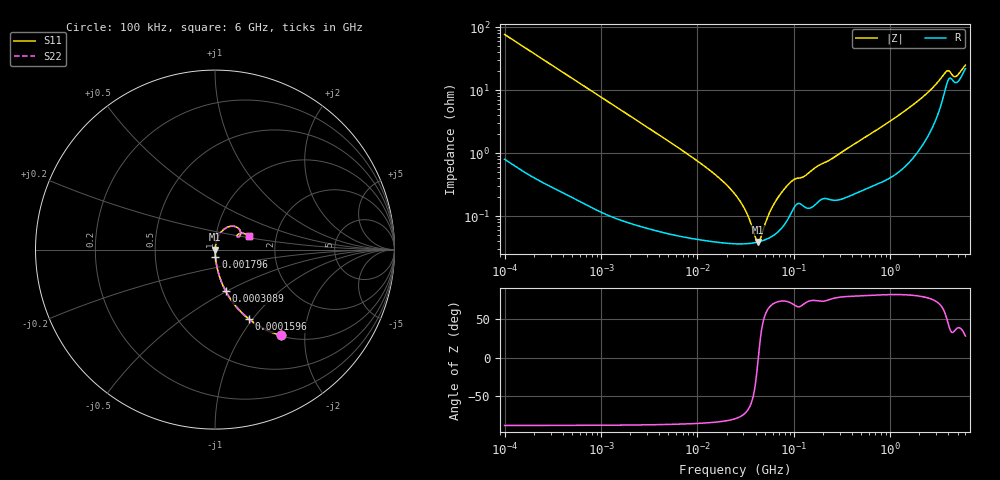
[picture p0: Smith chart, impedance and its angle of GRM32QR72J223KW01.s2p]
!Murata Part Number: GRM32QR72J223KW01
!These Parameters are Measured in Series Mode Connection
!Data Generated on Mar 30, 2021
!  o--ll--o
!Port1  Port2
!  o------o
!Operation Temp=25[degC], DC Bias Voltage=0[V]
!Freq. Start=100[kHz] Stop=6[GHz] 401[Steps]
# Hz S RI R 50
!Freq.(Hz) S11(Real) S11(Imag) S21(Real) S21(Imag) S12(Real) S12(Imag) S22(Real) S22(Imag)
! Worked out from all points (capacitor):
!   401 points, 100 kHz to 6 GHz, reference 50 ohm
!   read as one part in series: C = 20.9 nF near 105.7 kHz
!   lowest |Z| = 38.8 mohm at 42.46 MHz (marker M1)
!   series resonance near 42.74 MHz, so ESL is about 660 pH
!   S11 on the Smith chart (normalised r, x): 100 kHz: 1.02, -1.52; 159.6 kHz: 1.01, -0.96; 308.9 kHz: 1.01, -0.50; 1.796 MHz: 1.00, -0.09; 6 GHz: 1.44, +0.23
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100000  0.3685 -0.4772  0.6315 0.4772  0.6315 0.4772  0.3685 -0.4772
159614  0.1889 -0.3863  0.8111 0.3863  0.8111 0.3863  0.1889 -0.3863
308859  0.0605 -0.2326  0.9395 0.2326  0.9395 0.2326  0.0605 -0.2326
631452  0.0162 -0.1199  0.9838 0.1199  0.9838 0.1199  0.0162 -0.1199
1795828  0.00266 -0.043  0.9973 0.043  0.9973 0.043  0.00266 -0.043
3987316  0.000945 -0.0194  0.9991 0.0194  0.9991 0.0194  0.000945 -0.0194
1.374747e7  0.000423 -0.00516  0.9996 0.00516  0.9996 0.00516  0.000423 -0.00516
2.517799e7  0.000367 -0.00207  0.9996 0.00207  0.9996 0.00207  0.000367 -0.00207
3.137502e7  0.000365 -0.00118  0.9996 0.00118  0.9996 0.00118  0.000365 -0.00118
4.018763e7  0.00038 -0.000233  0.9996 0.000233  0.9996 0.000233  0.00038 -0.000233
4.246031e7  0.000387 -2.49e-05  0.9996 2.49e-05  0.9996 2.49e-05  0.000387 -2.49e-05
4.486152e7  0.000396 0.000184  0.9996 -0.000184  0.9996 -0.000184  0.000396 0.000184
5.906466e7  0.000476 0.00126  0.9995 -0.00126  0.9995 -0.00126  0.000476 0.00126
7.565474e7  0.000665 0.00235  0.9993 -0.00235  0.9993 -0.00235  0.000665 0.00235
9.690463e7  0.00124 0.00346  0.9988 -0.00346  0.9988 -0.00346  0.00124 0.00346
1.275846e8  0.00143 0.00401  0.9986 -0.00401  0.9986 -0.00401  0.00143 0.00401
1.546735e8  0.00141 0.00518  0.9986 -0.00518  0.9986 -0.00518  0.00141 0.00518
9.76689e8  0.00492 0.031  0.9951 -0.031  0.9951 -0.031  0.00492 0.031
2.55767e9  0.0289 0.0905  0.9711 -0.0905  0.9711 -0.0905  0.0289 0.0905
3.759065e9  0.1175 0.1267  0.8825 -0.1267  0.8825 -0.1267  0.1175 0.1267
4.68428e9  0.1226 0.0738  0.8774 -0.0738  0.8774 -0.0738  0.1226 0.0738
6e9  0.1871 0.0783  0.8129 -0.0783  0.8129 -0.0783  0.1871 0.0783
